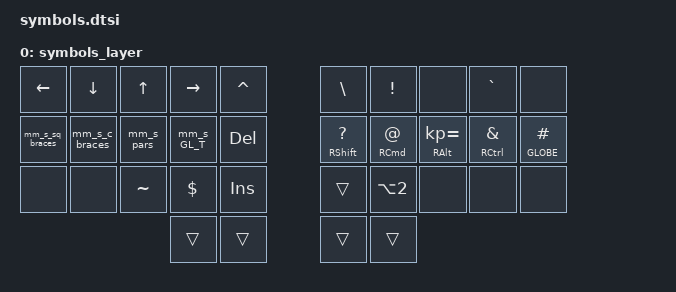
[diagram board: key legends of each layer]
/*           34 Keys
 ╭──────────────╮ ╭──────────────╮
 │ 0  1  2  3  4│ │ 5  6  7  8  9│
 │10 11 12 13 14│ │15 16 17 18 19│
 │20 21 22 23 24│ │25 26 27 28 29│
 ╰────────╮30 31│ │32 33╭────────╯
          ╰─────╯ ╰─────╯         */
/ {
/*  Enter with base layer SYN
    ╭──────────────────╮ ╭───────────────╮
    │ W  F  M  P  V    │ │ │  :  J  "  Z │
    │ R  S  N  T  B    │ │ ;  A  E  I  H │
    │ X  C  L  D  G    │ │ _  U  O  Y  K │
    ╰────────╮SYM ⌫/NUM│ │␣/⏎  REP╭──────╯
             ╰─────────╯ ╰────────╯         */
/*  
    ╭─────────────────────────────╮ ╭───────────────╮
    │ ^  LEFT  DONW  UP  RIGHT    │ │ \  !  _  `  _ │
    │ [  {     (     <   INS      │ │ ?  @  =  &  # │
    │ _  _     ~     $   ⌦        │ │ -  €  _  _  _ │
    ╰───────────────╮trans  trans │ │ trans  trans╭─╯
                    ╰─────────────╯ ╰─────────────╯   */
/*  with Shift or hold
    ╭──────────────────╮ ╭───────────────╮
    │ _  _  _  _  _    │ │ _  _  _  _  _ │
    │ ]  }  )  >  _    │ │ _  _  _  _  _ │
    │ _  _  _  _  _    │ │ _  _  _  _  _ │
    ╰────╮trans  trans │ │ trans  trans╭─╯
         ╰─────────────╯ ╰─────────────╯    */
   keymap {
      compatible = "zmk,keymap";
      symbols_layer {
         bindings = <
//╭───────────────┬───────────────┬───────────┬───────────┬──────────╮╭───────────────────┬───────────────┬─────────────────────┬──────────────────┬──────────────────╮
   &kp LEFT         &kp DOWN        &kp UP      &kp RIGHT   &kp CARET   &kp BSLH            &kp EXCL        &none                 &kp GRAVE          &none
//├───────────────┼───────────────┼───────────┼───────────┼──────────┤├───────────────────┼───────────────┼─────────────────────┼──────────────────┼──────────────────┤
   &mm_s_sq_braces  &mm_s_c_braces  &mm_s_pars  &mm_s_GL_T  &kp DEL     &hrm_r RSHFT QMARK  &hrm_r RCMD AT  &hrm_r RALT KP_EQUAL  &hrm_r RCTRL AMPS  &hrm_r GLOBE HASH
//├───────────────┼───────────────┼───────────┼───────────┼──────────┤├───────────────────┼───────────────┼─────────────────────┼──────────────────┼──────────────────┤
   &none            &none           &kp TILDE   &kp DLLR    &kp INS     &trans              &kp LA(N2)      &none                 &none              &none
//╰───────────────┴───────────────┴───────────╮                      ││                   ╭───────────────┴─────────────────────┴──────────────────┴──────────────────╯
                                                &trans      &trans      &trans              &trans
//                                            ╰───────────┴──────────╯╰───────────────────┴───────────────╯
         >;
      };
   };
};
   MOD_MORPH_SHIFT(sq_braces, &mt RIGHT_BRACKET LEFT_BRACKET, &kp RIGHT_BRACKET)
   MOD_MORPH_SHIFT(c_braces, &mt RIGHT_BRACE LEFT_BRACE, &kp RIGHT_BRACE)
   MOD_MORPH_SHIFT(pars, &mt RIGHT_PARENTHESIS LEFT_PARENTHESIS, &kp RIGHT_PARENTHESIS)
   MOD_MORPH_SHIFT(GL_T, &mt GT LT, &kp GT)
